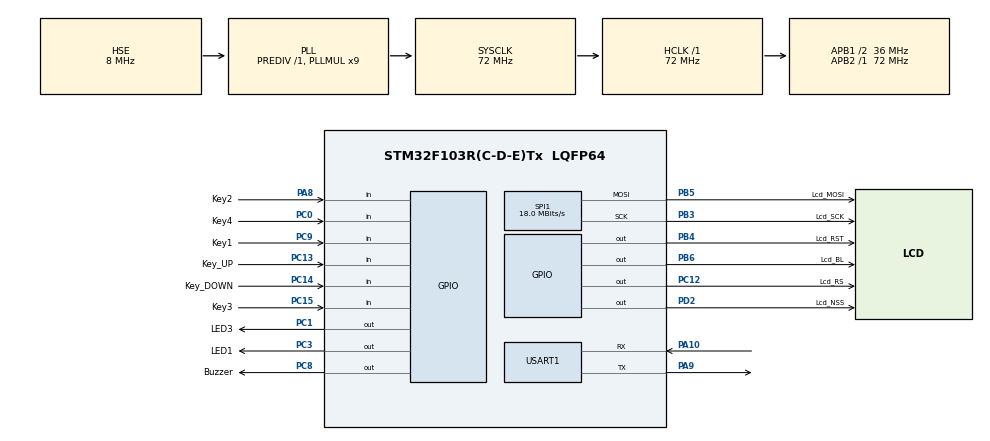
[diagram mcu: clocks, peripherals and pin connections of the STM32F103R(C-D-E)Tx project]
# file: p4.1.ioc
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Dma.Request0=SPI1_TX
Dma.SPI1_TX.0.Direction=DMA_MEMORY_TO_PERIPH
Dma.SPI1_TX.0.Instance=DMA1_Channel3
Dma.SPI1_TX.0.MemDataAlignment=DMA_MDATAALIGN_BYTE
Dma.SPI1_TX.0.MemInc=DMA_MINC_ENABLE
Dma.SPI1_TX.0.Mode=DMA_NORMAL
Dma.SPI1_TX.0.PeriphDataAlignment=DMA_PDATAALIGN_BYTE
Dma.SPI1_TX.0.PeriphInc=DMA_PINC_DISABLE
Dma.SPI1_TX.0.Priority=DMA_PRIORITY_LOW
Mcu.Family=STM32F1
Mcu.Name=STM32F103R(C-D-E)Tx
Mcu.Package=LQFP64
NVIC.DMA1_Channel3_IRQn=true\:5\:0\:true\:false\:true\:false\:true\:true
NVIC.PriorityGroup=NVIC_PRIORITYGROUP_4
NVIC.TIM6_IRQn=true\:0\:0\:true\:false\:true\:false\:true\:true
NVIC.TimeBase=TIM6_IRQn
NVIC.TimeBaseIP=TIM6
PA10.Mode=Asynchronous
PA10.Signal=USART1_RX
PA13.Mode=Serial_Wire
PA13.Signal=SYS_JTMS-SWDIO
PA14.Mode=Serial_Wire
PA14.Signal=SYS_JTCK-SWCLK
PA8.GPIO_Label=Key2
PA8.GPIO_PuPd=GPIO_PULLUP
PA8.Signal=GPIO_Input
PA9.Mode=Asynchronous
PA9.Signal=USART1_TX
PB3.GPIO_Label=Lcd_SCK
PB3.Mode=TX_Only_Simplex_Unidirect_Master
PB3.Signal=SPI1_SCK
PB4.GPIO_Label=Lcd_RST
PB4.PinState=GPIO_PIN_SET
PB4.Signal=GPIO_Output
PB5.GPIO_Label=Lcd_MOSI
PB5.Mode=TX_Only_Simplex_Unidirect_Master
PB5.Signal=SPI1_MOSI
PB6.GPIO_Label=Lcd_BL
PB6.Signal=GPIO_Output
PC0.GPIO_Label=Key4
PC0.GPIO_PuPd=GPIO_PULLUP
PC0.Signal=GPIO_Input
PC1.GPIO_Label=LED3
PC1.Signal=GPIO_Output
PC12.GPIO_Label=Lcd_RS
PC12.Signal=GPIO_Output
PC13-TAMPER-RTC.GPIO_Label=Key_UP
PC13-TAMPER-RTC.GPIO_PuPd=GPIO_PULLUP
PC13-TAMPER-RTC.Signal=GPIO_Input
PC14-OSC32_IN.GPIO_Label=Key_DOWN
PC14-OSC32_IN.GPIO_PuPd=GPIO_PULLUP
PC14-OSC32_IN.Signal=GPIO_Input
PC15-OSC32_OUT.GPIO_Label=Key3
PC15-OSC32_OUT.GPIO_PuPd=GPIO_PULLUP
PC15-OSC32_OUT.Signal=GPIO_Input
PC3.GPIO_Label=LED1
PC3.Signal=GPIO_Output
PC8.GPIO_Label=Buzzer
PC8.Signal=GPIO_Output
PC9.GPIO_Label=Key1
PC9.GPIO_PuPd=GPIO_PULLUP
PC9.Signal=GPIO_Input
PD0-OSC_IN.Mode=HSE-External-Oscillator
PD0-OSC_IN.Signal=RCC_OSC_IN
PD1-OSC_OUT.Mode=HSE-External-Oscillator
PD1-OSC_OUT.Signal=RCC_OSC_OUT
PD2.GPIO_Label=Lcd_NSS
PD2.PinState=GPIO_PIN_SET
PD2.Signal=GPIO_Output
ProjectManager.HeapSize=0x200
ProjectManager.StackSize=0x400
ProjectManager.TargetToolchain=CMake
RCC.AHBFreq_Value=72000000
RCC.APB1CLKDivider=RCC_HCLK_DIV2
RCC.APB1Freq_Value=36000000
RCC.APB1TimFreq_Value=72000000
RCC.APB2Freq_Value=72000000
RCC.APB2TimFreq_Value=72000000
RCC.HCLKFreq_Value=72000000
RCC.PLLMUL=RCC_PLL_MUL9
RCC.PLLSourceVirtual=RCC_PLLSOURCE_HSE
RCC.SYSCLKFreq_VALUE=72000000
RCC.SYSCLKSource=RCC_SYSCLKSOURCE_PLLCLK
RCC.USBFreq_Value=72000000
SPI1.BaudRatePrescaler=SPI_BAUDRATEPRESCALER_4
SPI1.CalculateBaudRate=18.0 MBits/s
SPI1.Direction=SPI_DIRECTION_2LINES
SPI1.Mode=SPI_MODE_MASTER
SPI1.VirtualType=VM_MASTER
USART1.VirtualMode=VM_ASYNC
VP_SYS_VS_tim6.Mode=TIM6
board=custom

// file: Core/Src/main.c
/* USER CODE BEGIN Header */
/**
  ******************************************************************************
  * @file           : main.c
  * @brief          : Main program body
  ******************************************************************************
  * @attention
  *
  * Copyright (c) 2026 STMicroelectronics.
  * All rights reserved.
  *
  * This software is licensed under terms that can be found in the LICENSE file
  * in the root directory of this software component.
  * If no LICENSE file comes with this software, it is provided AS-IS.
  *
  ******************************************************************************
  */
/* USER CODE END Header */
#include "main.h"

/* USER CODE BEGIN Includes */
#include "FreeRTOS.h"
#include "projdefs.h"
#include "stm32f1xx_hal.h"
#include "stm32f1xx_hal_gpio.h"
#include "task.h"
#include"key_task.h"
#include"buzzer_task.h"
#include"Lcd_task.h"
/* USER CODE END Includes */

SPI_HandleTypeDef hspi1;
DMA_HandleTypeDef hdma_spi1_tx;

UART_HandleTypeDef huart1;

void SystemClock_Config(void);
static void MX_GPIO_Init(void);
static void MX_DMA_Init(void);
static void MX_USART1_UART_Init(void);
static void MX_SPI1_Init(void);

/* USER CODE BEGIN 0 */
void vLedTask (void *pvParameter)
{
  for(;;)
  {
    HAL_GPIO_WritePin(LED1_GPIO_Port, LED1_Pin, GPIO_PIN_SET);
    vTaskDelay(pdMS_TO_TICKS(100));
    HAL_GPIO_WritePin(LED1_GPIO_Port,LED1_Pin,GPIO_PIN_RESET);
    vTaskDelay(pdMS_TO_TICKS(100));
  }
}
/* USER CODE END 0 */

int main(void)
{

  /* MCU Configuration--------------------------------------------------------*/

  /* Reset of all peripherals, Initializes the Flash interface and the Systick. */
  HAL_Init();

  /* Configure the system clock */
  SystemClock_Config();

  /* Initialize all configured peripherals */
  MX_GPIO_Init();
  MX_DMA_Init();
  MX_USART1_UART_Init();
  MX_SPI1_Init();
  /* USER CODE BEGIN 2 */
  /* 注意：Lcd_Init() 不能在这里调用！
   * 它内部的 SendData() 用 DMA + FreeRTOS 信号量等待发送完成，
   * 而此刻 vTaskStartScheduler() 还没执行（调度器未启动）。
   * DMA 完成中断里的 portYIELD_FROM_ISR() 会请求 PendSV 上下文切换，
   * 但 FreeRTOS 的 PendSV 使用的是 PSP，调度器启动前 PSP 还是 0，
   * 第一次上下文切换就会访问非法地址 → HardFault，程序直接跑飞。
   * 所以初始化放到 vLcdTask 里（调度器启动后）执行。 */
  // Lcd_Init();
  xTaskCreate(keytask  ,"Key", 128, NULL, 3, NULL);
  xTaskCreate(vBuzzerTask,  "Buzzer", 64,NULL, 1, NULL);
  xTaskCreate(vLcdTask, "LCD",256, NULL,2, NULL);
  xTaskCreate(vLedTask, "led", 128, NULL, 1, NULL);
  vTaskStartScheduler();
  /* USER CODE END 2 */

  /* Infinite loop */
  while (1)
  {

  }
}

void SystemClock_Config(void)
{
  RCC_OscInitTypeDef RCC_OscInitStruct = {0};
  RCC_ClkInitTypeDef RCC_ClkInitStruct = {0};

  /** Initializes the RCC Oscillators according to the specified parameters
  * in the RCC_OscInitTypeDef structure.
  */
  RCC_OscInitStruct.OscillatorType = RCC_OSCILLATORTYPE_HSE;
  RCC_OscInitStruct.HSEState = RCC_HSE_ON;
  RCC_OscInitStruct.HSEPredivValue = RCC_HSE_PREDIV_DIV1;
  RCC_OscInitStruct.HSIState = RCC_HSI_ON;
  RCC_OscInitStruct.PLL.PLLState = RCC_PLL_ON;
  RCC_OscInitStruct.PLL.PLLSource = RCC_PLLSOURCE_HSE;
  RCC_OscInitStruct.PLL.PLLMUL = RCC_PLL_MUL9;
  if (HAL_RCC_OscConfig(&RCC_OscInitStruct) != HAL_OK)
  {
    Error_Handler();
  }

  /** Initializes the CPU, AHB and APB buses clocks
  */
  RCC_ClkInitStruct.ClockType = RCC_CLOCKTYPE_HCLK|RCC_CLOCKTYPE_SYSCLK
                              |RCC_CLOCKTYPE_PCLK1|RCC_CLOCKTYPE_PCLK2;
  RCC_ClkInitStruct.SYSCLKSource = RCC_SYSCLKSOURCE_PLLCLK;
  RCC_ClkInitStruct.AHBCLKDivider = RCC_SYSCLK_DIV1;
  RCC_ClkInitStruct.APB1CLKDivider = RCC_HCLK_DIV2;
  RCC_ClkInitStruct.APB2CLKDivider = RCC_HCLK_DIV1;

  if (HAL_RCC_ClockConfig(&RCC_ClkInitStruct, FLASH_LATENCY_2) != HAL_OK)
  {
    Error_Handler();
  }
}

static void MX_SPI1_Init(void)
{

  /* SPI1 parameter configuration*/
  hspi1.Instance = SPI1;
  hspi1.Init.Mode = SPI_MODE_MASTER;
  hspi1.Init.Direction = SPI_DIRECTION_2LINES;
  hspi1.Init.DataSize = SPI_DATASIZE_8BIT;
  hspi1.Init.CLKPolarity = SPI_POLARITY_LOW;
  hspi1.Init.CLKPhase = SPI_PHASE_1EDGE;
  hspi1.Init.NSS = SPI_NSS_SOFT;
  hspi1.Init.BaudRatePrescaler = SPI_BAUDRATEPRESCALER_4;
  hspi1.Init.FirstBit = SPI_FIRSTBIT_MSB;
  hspi1.Init.TIMode = SPI_TIMODE_DISABLE;
  hspi1.Init.CRCCalculation = SPI_CRCCALCULATION_DISABLE;
  hspi1.Init.CRCPolynomial = 10;
  if (HAL_SPI_Init(&hspi1) != HAL_OK)
  {
    Error_Handler();
  }

}

static void MX_USART1_UART_Init(void)
{

  huart1.Instance = USART1;
  huart1.Init.BaudRate = 115200;
  huart1.Init.WordLength = UART_WORDLENGTH_8B;
  huart1.Init.StopBits = UART_STOPBITS_1;
  huart1.Init.Parity = UART_PARITY_NONE;
  huart1.Init.Mode = UART_MODE_TX_RX;
  huart1.Init.HwFlowCtl = UART_HWCONTROL_NONE;
  huart1.Init.OverSampling = UART_OVERSAMPLING_16;
  if (HAL_UART_Init(&huart1) != HAL_OK)
  {
    Error_Handler();
  }

}

static void MX_DMA_Init(void)
{

  /* DMA controller clock enable */
  __HAL_RCC_DMA1_CLK_ENABLE();

  /* DMA interrupt init */
  /* DMA1_Channel3_IRQn interrupt configuration */
  HAL_NVIC_SetPriority(DMA1_Channel3_IRQn, 5, 0);
  HAL_NVIC_EnableIRQ(DMA1_Channel3_IRQn);

}

static void MX_GPIO_Init(void)
{
  GPIO_InitTypeDef GPIO_InitStruct = {0};

  /* GPIO Ports Clock Enable */
  __HAL_RCC_GPIOC_CLK_ENABLE();
  __HAL_RCC_GPIOD_CLK_ENABLE();
  __HAL_RCC_GPIOA_CLK_ENABLE();
  __HAL_RCC_GPIOB_CLK_ENABLE();

  /*Configure GPIO pin Output Level */
  HAL_GPIO_WritePin(GPIOC, LED3_Pin|LED1_Pin|Buzzer_Pin|Lcd_RS_Pin, GPIO_PIN_RESET);

  /*Configure GPIO pin Output Level */
  HAL_GPIO_WritePin(Lcd_NSS_GPIO_Port, Lcd_NSS_Pin, GPIO_PIN_SET);

  /*Configure GPIO pin Output Level */
  HAL_GPIO_WritePin(Lcd_RST_GPIO_Port, Lcd_RST_Pin, GPIO_PIN_SET);

  /*Configure GPIO pin Output Level */
  HAL_GPIO_WritePin(Lcd_BL_GPIO_Port, Lcd_BL_Pin, GPIO_PIN_RESET);

  /*Configure GPIO pins : Key_UP_Pin Key_DOWN_Pin Key3_Pin Key4_Pin
                           Key1_Pin */
  GPIO_InitStruct.Pin = Key_UP_Pin|Key_DOWN_Pin|Key3_Pin|Key4_Pin
                          |Key1_Pin;
  GPIO_InitStruct.Mode = GPIO_MODE_INPUT;
  GPIO_InitStruct.Pull = GPIO_PULLUP;
  HAL_GPIO_Init(GPIOC, &GPIO_InitStruct);

  /*Configure GPIO pins : LED3_Pin LED1_Pin Buzzer_Pin Lcd_RS_Pin */
  GPIO_InitStruct.Pin = LED3_Pin|LED1_Pin|Buzzer_Pin|Lcd_RS_Pin;
  GPIO_InitStruct.Mode = GPIO_MODE_OUTPUT_PP;
  GPIO_InitStruct.Pull = GPIO_NOPULL;
  GPIO_InitStruct.Speed = GPIO_SPEED_FREQ_LOW;
  HAL_GPIO_Init(GPIOC, &GPIO_InitStruct);

  /*Configure GPIO pin : Key2_Pin */
  GPIO_InitStruct.Pin = Key2_Pin;
  GPIO_InitStruct.Mode = GPIO_MODE_INPUT;
  GPIO_InitStruct.Pull = GPIO_PULLUP;
  HAL_GPIO_Init(Key2_GPIO_Port, &GPIO_InitStruct);

  /*Configure GPIO pin : Lcd_NSS_Pin */
  GPIO_InitStruct.Pin = Lcd_NSS_Pin;
  GPIO_InitStruct.Mode = GPIO_MODE_OUTPUT_PP;
  GPIO_InitStruct.Pull = GPIO_NOPULL;
  GPIO_InitStruct.Speed = GPIO_SPEED_FREQ_LOW;
  HAL_GPIO_Init(Lcd_NSS_GPIO_Port, &GPIO_InitStruct);

  /*Configure GPIO pins : Lcd_RST_Pin Lcd_BL_Pin */
  GPIO_InitStruct.Pin = Lcd_RST_Pin|Lcd_BL_Pin;
  GPIO_InitStruct.Mode = GPIO_MODE_OUTPUT_PP;
  GPIO_InitStruct.Pull = GPIO_NOPULL;
  GPIO_InitStruct.Speed = GPIO_SPEED_FREQ_LOW;
  HAL_GPIO_Init(GPIOB, &GPIO_InitStruct);

  /* USER CODE BEGIN MX_GPIO_Init_2 */

  /* 把按键引脚 PC9 配置为输入上拉：
   * 若按键是“按下接 GND”，上拉保证松开时读到高电平；
   * 若按键是“按下接 3.3V”，请把 GPIO_PULLUP 改成 GPIO_PULLDOWN */
  GPIO_InitStruct.Pin = GPIO_PIN_9;
  GPIO_InitStruct.Mode = GPIO_MODE_INPUT;
  GPIO_InitStruct.Pull = GPIO_PULLUP;
  HAL_GPIO_Init(GPIOC, &GPIO_InitStruct);

  /* USER CODE END MX_GPIO_Init_2 */
}

void HAL_TIM_PeriodElapsedCallback(TIM_HandleTypeDef *htim)
{
  if (htim->Instance == TIM6)
  {
    HAL_IncTick();
  }
}

void Error_Handler(void)
{
  __disable_irq();
  while (1)
  {
  }
}
